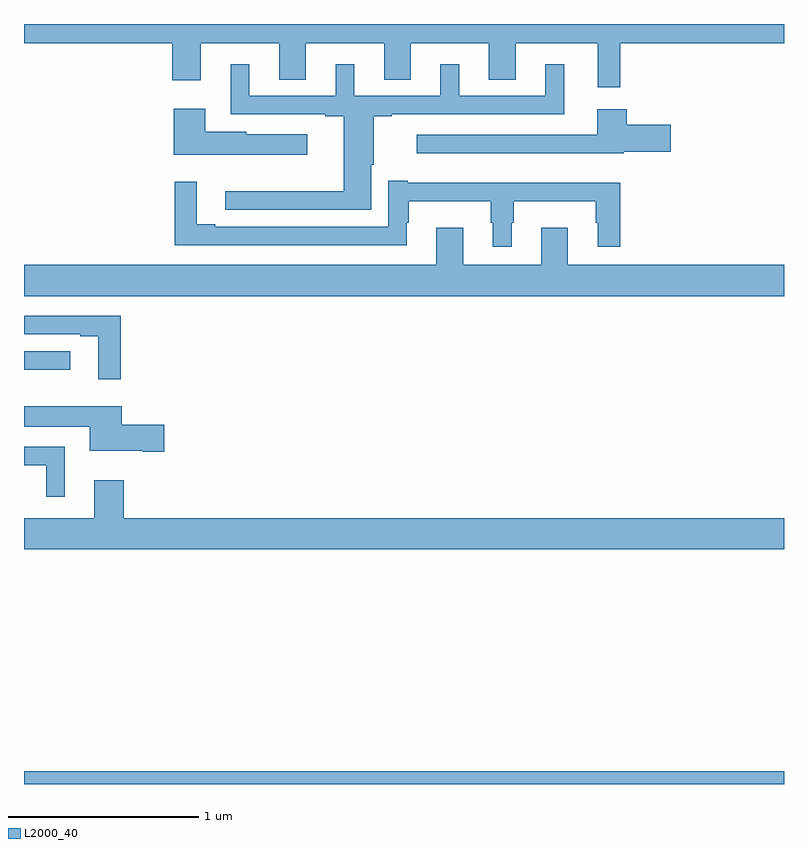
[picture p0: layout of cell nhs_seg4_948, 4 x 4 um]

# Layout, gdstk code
import gdstk
lib = gdstk.Library(unit=1e-6, precision=1e-09)
def R(c, l, rs):  # rectangles x0, y0, x1, y1
    for r in rs: c.add(gdstk.rectangle(r[:2], r[2:], *l))
def P(c, l, *ps):  # polygons
    for p in ps: c.add(gdstk.Polygon(p, *l))
L2000_40 = (2000, 40)

nhs_seg4_948 = lib.new_cell('nhs_seg4_948')
R(nhs_seg4_948, L2000_40, [(159,812.9,163,812.968), (159,815.081,159.244,815.178)])
P(nhs_seg4_948, L2000_40, [(159,816.8),(159.779,816.8),(159.779,816.603),(159.931,816.603),(159.931,816.8),(160.343,816.8),(160.343,816.607),(160.483,816.607),(160.483,816.8),(160.895,816.8),(160.895,816.607),(161.035,816.607),(161.035,816.8),(161.447,816.8),(161.447,816.607),(161.587,816.607),(161.587,816.8),(162.02,816.8),(162.02,816.567),(162.137,816.567),(162.137,816.8),(163,816.8),(163,816.9),(159,816.9)],
  [(160.828,816.159),(160.84,816.159),(160.84,816.414),(160.936,816.414),(160.936,816.426),(161.843,816.426),(161.843,816.688),(161.744,816.688),(161.744,816.522),(161.29,816.522),(161.29,816.688),(161.192,816.688),(161.192,816.522),(160.738,816.522),(160.738,816.688),(160.64,816.688),(160.64,816.522),(160.186,816.522),(160.186,816.688),(160.088,816.688),(160.088,816.426),(160.586,816.426),(160.586,816.414),(160.682,816.414),(160.682,816.02),(160.059,816.02),(160.059,815.922),(160.828,815.922)],
  [(160.492,816.319),(160.17,816.319),(160.17,816.334),(159.955,816.334),(159.955,816.454),(159.788,816.454),(159.788,816.212),(160.492,816.212)],
  [(162.156,816.227),(162.403,816.227),(162.403,816.369),(162.173,816.369),(162.173,816.451),(162.017,816.451),(162.017,816.318),(161.067,816.318),(161.067,816.221),(162.156,816.221)],
  [(161.566,815.855),(161.578,815.855),(161.578,815.966),(162.009,815.966),(162.009,815.855),(162.02,815.855),(162.02,815.727),(162.137,815.727),(162.137,816.064),(161.02,816.064),(161.02,816.076),(160.917,816.076),(160.917,815.832),(160.006,815.832),(160.006,815.845),(159.91,815.845),(159.91,816.07),(159.793,816.07),(159.793,815.736),(161.014,815.736),(161.014,815.855),(161.026,815.855),(161.026,815.966),(161.457,815.966),(161.457,815.855),(161.468,815.855),(161.468,815.727),(161.566,815.727)],
  [(163,815.632),(161.863,815.632),(161.863,815.827),(161.723,815.827),(161.723,815.632),(161.311,815.632),(161.311,815.827),(161.171,815.827),(161.171,815.632),(159,815.632),(159,815.468),(163,815.468)],
  [(159.509,815.364),(159,815.364),(159,815.268),(159.296,815.268),(159.296,815.256),(159.392,815.256),(159.392,815.031),(159.509,815.031)],
  [(159.739,814.79),(159.514,814.79),(159.514,814.888),(159,814.888),(159,814.781),(159.347,814.781),(159.347,814.655),(159.626,814.655),(159.626,814.648),(159.739,814.648)],
  [(159.214,814.674),(159,814.674),(159,814.578),(159.116,814.578),(159.116,814.413),(159.214,814.413)],
  [(163,814.3),(159.524,814.3),(159.524,814.498),(159.371,814.498),(159.371,814.3),(159,814.3),(159,814.136),(163,814.136)])

lib.write_gds('nhs_seg4_948.gds')
